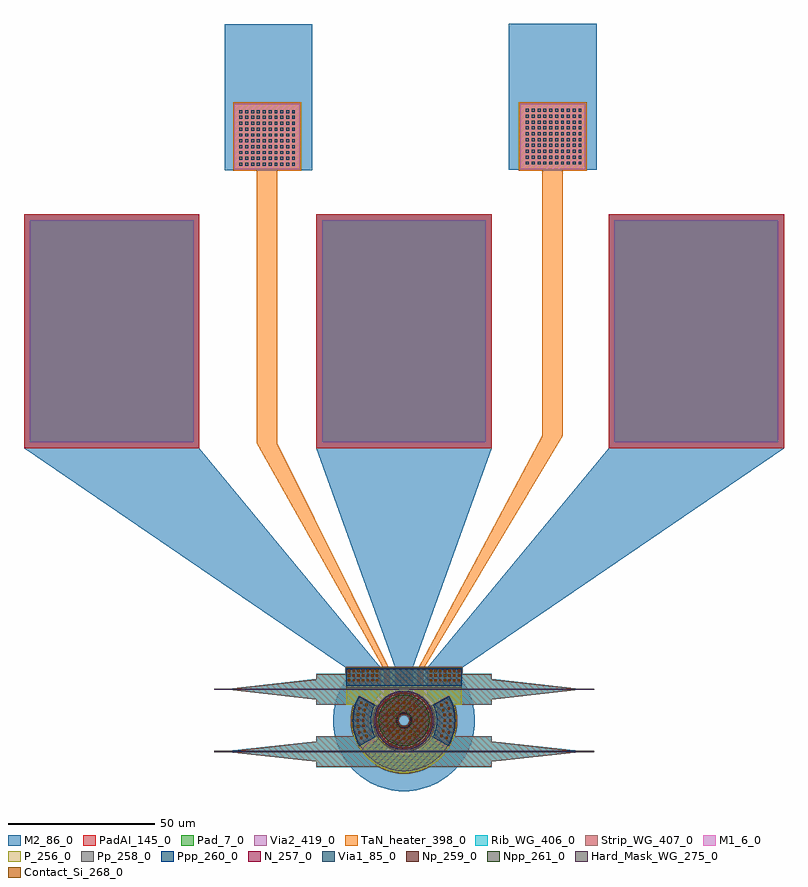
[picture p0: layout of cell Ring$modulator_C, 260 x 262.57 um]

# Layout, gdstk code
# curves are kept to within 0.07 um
import gdstk
lib = gdstk.Library(unit=1e-6, precision=1e-09)
def R(c, l, rs):  # rectangles x0, y0, x1, y1
    for r in rs: c.add(gdstk.rectangle(r[:2], r[2:], *l))
def A(c, l, x, y, w, h, nx, ny, dx, dy):  # array of equal rectangles
    R(c, l, [(x+i*dx, y+j*dy, x+i*dx+w, y+j*dy+h) for i in range(nx) for j in range(ny)])
def P(c, l, *ps):  # polygons
    for p in ps: c.add(gdstk.Polygon(p, *l))
M1_6_0 = (6, 0)
Pad_7_0 = (7, 0)
Via1_85_0 = (85, 0)
M2_86_0 = (86, 0)
PadAI_145_0 = (145, 0)
P_256_0 = (256, 0)
N_257_0 = (257, 0)
Pp_258_0 = (258, 0)
Np_259_0 = (259, 0)
Ppp_260_0 = (260, 0)
Npp_261_0 = (261, 0)
Contact_Si_268_0 = (268, 0)
Hard_Mask_WG_275_0 = (275, 0)
TaN_heater_398_0 = (398, 0)
Rib_WG_406_0 = (406, 0)
Strip_WG_407_0 = (407, 0)
Via2_419_0 = (419, 0)

ring_modulator_c = lib.new_cell('Ring$modulator_C')
R(ring_modulator_c, M1_6_0, [(110.3,43.75,121.7,48.675), (138.3,43.75,149.7,48.675), (72.005,219.511,94.321,241.826), (169.706,219.511,192.022,241.826)])
P(ring_modulator_c, M1_6_0, [(130.089,23.14),(128.353,23.316),(127.02,23.736),(125.496,24.585),(124.438,25.498),(123.562,26.586),(122.764,28.138),(122.39,29.484),(122.265,30.875),(127.285,30.875),(127.48,29.863),(127.903,29.149),(128.7,28.49),(129.481,28.209),(130.102,28.161),(130.718,28.255),(131.475,28.594),(131.956,28.99),(132.434,29.669),(132.644,30.256),(132.708,31.079),(132.59,31.691),(132.336,32.26),(131.809,32.901),(131.3,33.26),(130.519,33.541),(129.898,33.589),(129.282,33.495),(128.704,33.262),(128.194,32.904),(127.566,32.081),(127.356,31.494),(127.285,30.875),(122.265,30.875),(122.39,32.263),(122.764,33.61),(123.373,34.867),(124.436,36.25),(125.493,37.163),(127.016,38.013),(128.692,38.5),(130.085,38.611),(131.475,38.469),(132.817,38.08),(134.067,37.456),(135.438,36.377),(136.339,35.31),(137.033,34.097),(137.498,32.78),(137.734,31.052),(137.64,29.658),(137.173,27.977),(136.535,26.734),(135.684,25.627),(134.363,24.487),(133.143,23.806),(131.821,23.356)],
  [(144.748,21.298),(140.286,24.195),(141.128,25.715),(141.746,27.34),(142.055,28.608),(142.254,30.335),(142.207,32.074),(141.915,33.787),(141.383,35.443),(140.622,37.007),(145.229,39.667),(146.363,37.318),(147.011,35.332),(147.484,32.764),(147.585,30.677),(147.361,28.076),(146.756,25.536),(145.781,23.114)],
  [(115.596,20.789),(114.255,23.043),(113.266,25.472),(112.741,27.504),(112.432,30.108),(112.513,32.73),(112.983,35.309),(113.832,37.791),(114.772,39.667),(119.379,37.007),(118.618,35.444),(118.087,33.79),(117.794,32.077),(117.747,30.34),(117.946,28.613),(118.386,26.933),(119.06,25.331),(119.954,23.841)])
A(ring_modulator_c, Pad_7_0, 2, 125.975, 56, 76, 3, 1, 100, 0)
A(ring_modulator_c, Via1_85_0, 110.8, 44.225, 0.8, 0.8, 7, 3, 1.6, 1.6)
A(ring_modulator_c, Via1_85_0, 138.8, 44.225, 0.8, 0.8, 7, 3, 1.6, 1.6)
A(ring_modulator_c, Via1_85_0, 73.71, 220.658, 1, 1, 10, 10, 2, 2)
A(ring_modulator_c, Via1_85_0, 171.722, 221.089, 1, 1, 10, 10, 2, 2)
R(ring_modulator_c, Via1_85_0, [(129.6,24.3,130.4,25.1), (114.98,24.419,115.78,25.219), (144.22,24.419,145.02,25.219), (127.692,24.602,128.492,25.402), (131.508,24.602,132.308,25.402), (116.735,25.146,117.535,25.946), (142.465,25.146,143.265,25.946), (125.97,25.479,126.77,26.279), (133.23,25.479,134.03,26.279), (129.6,26.1,130.4,26.9), (114.314,26.379,115.114,27.179), (144.886,26.379,145.686,27.179), (127.412,26.686,128.212,27.486), (131.788,26.686,132.588,27.486), (124.604,26.845,125.404,27.645), (134.596,26.845,135.396,27.645), (116.149,26.871,116.949,27.671), (143.051,26.871,143.851,27.671), (125.811,28.288,126.611,29.088), (133.389,28.288,134.189,29.088), (113.91,28.409,114.71,29.209), (145.29,28.409,146.09,29.209), (123.727,28.567,124.527,29.367), (135.473,28.567,136.273,29.367), (115.794,28.657,116.594,29.457), (143.406,28.657,144.206,29.457), (113.775,30.475,114.575,31.275), (113.775,30.475,114.575,31.275), (115.675,30.475,116.475,31.275), (115.675,30.475,116.475,31.275), (123.425,30.475,124.225,31.275), (123.425,30.475,124.225,31.275), (125.225,30.475,126.025,31.275), (125.225,30.475,126.025,31.275), (133.975,30.475,134.775,31.275), (133.975,30.475,134.775,31.275), (135.775,30.475,136.575,31.275), (135.775,30.475,136.575,31.275), (143.525,30.475,144.325,31.275), (143.525,30.475,144.325,31.275), (145.425,30.475,146.225,31.275), (145.425,30.475,146.225,31.275), (115.794,32.293,116.594,33.093), (143.406,32.293,144.206,33.093), (123.727,32.383,124.527,33.183), (135.473,32.383,136.273,33.183), (113.91,32.541,114.71,33.341), (145.29,32.541,146.09,33.341), (125.811,32.662,126.611,33.462), (133.389,32.662,134.189,33.462), (116.149,34.079,116.949,34.879), (143.051,34.079,143.851,34.879), (124.604,34.105,125.404,34.905), (134.596,34.105,135.396,34.905), (127.412,34.264,128.212,35.064), (131.788,34.264,132.588,35.064), (114.314,34.571,115.114,35.371), (144.886,34.571,145.686,35.371), (129.6,34.85,130.4,35.65), (125.97,35.471,126.77,36.271), (133.23,35.471,134.03,36.271), (116.735,35.804,117.535,36.604), (142.465,35.804,143.265,36.604), (127.692,36.348,128.492,37.148), (131.508,36.348,132.308,37.148), (114.98,36.531,115.78,37.331), (144.22,36.531,145.02,37.331), (129.6,36.65,130.4,37.45)])
A(ring_modulator_c, M2_86_0, 0, 123.975, 60, 80, 3, 1, 100, 0)
R(ring_modulator_c, M2_86_0, [(127,34.15,133,48.975), (110,42.75,122,48.975), (138,42.75,150,48.975), (169.206,219.011,192.522,242.326), (68.639,219.027,98.639,269.027), (165.862,219.218,195.862,269.218)])
P(ring_modulator_c, M2_86_0, [(71.505,219.011),(71.505,242.326),(83.328,242.326),(83.328,221.409),(94.821,221.409),(94.821,219.011)],
  [(130,22.84),(128.4,23.001),(126.945,23.444),(125.526,24.201),(124.351,25.161),(123.326,26.401),(122.603,27.738),(122.126,29.275),(121.965,30.875),(122.126,32.475),(122.569,33.93),(123.326,35.349),(124.286,36.524),(125.526,37.549),(126.863,38.272),(128.4,38.749),(130,38.91),(131.6,38.749),(133.055,38.306),(134.474,37.549),(135.649,36.589),(136.674,35.349),(137.397,34.012),(137.874,32.475),(138.035,30.875),(137.874,29.275),(137.431,27.82),(136.674,26.401),(135.714,25.226),(134.474,24.201),(133.137,23.478),(131.6,23.001)],
  [(138,8.009),(138,21.979),(139.66,23.814),(140.367,24.9),(140.953,26.057),(141.641,28.104),(141.872,29.379),(141.964,30.672),(141.916,31.967),(141.728,33.25),(141.402,34.505),(140.942,35.718),(140.354,36.873),(139.644,37.958),(138,39.771),(138,43.194),(143.194,51.192),(145.685,49.339),(147.058,48.078),(148.33,46.715),(150.206,44.24),(151.174,42.647),(152.017,40.984),(153.129,38.084),(153.615,36.284),(153.961,34.452),(154.221,31.358),(154.084,28.255),(153.811,26.411),(153.398,24.594),(152.402,21.652),(151.038,18.861),(150.052,17.279),(148.947,15.777),(147.729,14.365),(146.407,13.05),(143.991,11.097),(141.346,9.47)],
  [(110,48.975),(0,123.975),(60,123.975),(122,48.975)],
  [(130,6.65),(130,18.91),(132.151,19.104),(134.231,19.682),(136.173,20.624),(138,21.979),(138,8.009),(136.145,7.441),(134.325,7.038),(131.861,6.72)],
  [(130,6.65),(127.519,6.776),(125.674,7.038),(123.854,7.442),(122,8.009),(122,21.978),(123.823,20.626),(125.766,19.683),(127.847,19.104),(130,18.91)],
  [(127,48.975),(100,123.975),(160,123.975),(133,48.975)],
  [(122,8.009),(118.653,9.471),(116.008,11.098),(113.593,13.051),(112.271,14.365),(111.054,15.777),(109.278,18.325),(108.374,19.956),(107.599,21.651),(106.956,23.401),(106.449,25.195),(105.916,28.254),(105.779,31.357),(106.039,34.451),(106.385,36.283),(106.871,38.083),(107.983,40.982),(108.825,42.645),(109.793,44.238),(111.668,46.713),(112.94,48.075),(114.313,49.337),(116.806,51.192),(122,43.194),(122,39.772),(120.356,37.959),(119.646,36.874),(119.058,35.719),(118.598,34.508),(118.272,33.254),(118.035,30.676),(118.127,29.383),(118.358,28.107),(119.045,26.059),(119.63,24.903),(120.337,23.816),(122,21.978)],
  [(138,48.975),(200,123.975),(260,123.975),(150,48.975)])
A(ring_modulator_c, PadAI_145_0, 0, 123.975, 60, 80, 3, 1, 100, 0)
R(ring_modulator_c, P_256_0, [(110.3,36.3,117.3,41.525), (142.7,36.3,149.7,41.525), (110.3,41.525,149.7,48.95)])
P(ring_modulator_c, P_256_0, [(130,12.95),(130,20.875),(131.976,21.071),(133.873,21.654),(135.618,22.601),(137.141,23.873),(138.384,25.422),(139.142,26.819),(139.763,28.705),(139.999,30.676),(139.841,32.655),(139.296,34.564),(138.384,36.328),(137.141,37.877),(135.617,39.149),(133.872,40.096),(131.975,40.679),(130,40.875),(130,48.8),(131.592,48.73),(133.692,48.417),(135.234,48.02),(136.736,47.487),(138.184,46.824),(140.013,45.744),(141.293,44.796),(142.485,43.739),(143.918,42.172),(144.866,40.892),(145.697,39.533),(146.61,37.616),(147.143,36.114),(147.541,34.572),(147.8,33),(147.926,30.88),(147.856,29.288),(147.543,27.187),(147.146,25.644),(146.407,23.652),(145.437,21.762),(144.567,20.428),(143.582,19.176),(142.49,18.016),(141.299,16.958),(139.573,15.719),(138.19,14.929),(136.742,14.265),(135.24,13.732),(133.697,13.334),(131.597,13.02)],
  [(130,12.95),(128.408,13.02),(126.308,13.333),(124.766,13.73),(123.264,14.263),(121.816,14.926),(119.987,16.006),(118.707,16.954),(117.515,18.011),(116.082,19.578),(115.134,20.858),(114.303,22.217),(113.39,24.134),(112.857,25.636),(112.459,27.178),(112.2,28.75),(112.074,30.87),(112.144,32.462),(112.457,34.563),(112.854,36.106),(113.593,38.098),(114.563,39.988),(115.433,41.322),(116.418,42.574),(117.51,43.734),(118.701,44.792),(120.427,46.031),(121.81,46.821),(123.258,47.485),(124.76,48.018),(126.303,48.416),(128.403,48.73),(130,48.8),(130,40.875),(128.024,40.679),(126.127,40.096),(124.382,39.149),(122.859,37.877),(121.616,36.328),(120.858,34.931),(120.237,33.045),(120.001,31.074),(120.159,29.095),(120.704,27.186),(121.616,25.422),(122.859,23.873),(124.383,22.601),(126.128,21.654),(128.025,21.071),(130,20.875)])
P(ring_modulator_c, N_257_0, [(130,20.875),(130,28.8),(130.707,28.923),(131.466,29.405),(131.95,30.162),(132.076,30.873),(131.882,31.751),(131.469,32.342),(130.711,32.826),(130,32.95),(130,40.875),(131.975,40.679),(133.872,40.096),(135.617,39.149),(137.141,37.877),(138.384,36.328),(139.142,34.931),(139.763,33.045),(139.999,31.074),(139.841,29.095),(139.296,27.186),(138.384,25.422),(137.141,23.873),(135.618,22.601),(133.873,21.654),(131.976,21.071)],
  [(130,20.875),(128.025,21.071),(126.128,21.654),(124.383,22.601),(122.859,23.873),(121.616,25.422),(120.858,26.819),(120.237,28.705),(120.001,30.676),(120.159,32.655),(120.704,34.564),(121.616,36.328),(122.859,37.877),(124.382,39.149),(126.127,40.096),(128.024,40.679),(130,40.875),(130,32.95),(129.293,32.827),(128.534,32.345),(128.05,31.588),(127.924,30.877),(128.118,29.999),(128.531,29.408),(129.289,28.924),(130,28.8)])
R(ring_modulator_c, Pp_258_0, [(110.3,42.05,149.7,48.15), (110.3,42.05,149.7,48.35)])
P(ring_modulator_c, Pp_258_0, [(130,13.55),(127.919,13.674),(125.868,14.049),(123.393,14.858),(121.516,15.768),(119.347,17.211),(117.783,18.589),(116.079,20.56),(114.941,22.306),(114.021,24.177),(113.197,26.65),(112.811,28.699),(112.674,30.779),(112.788,32.86),(113.28,35.418),(113.947,37.394),(114.847,39.274),(120.795,35.978),(120.267,34.883),(119.87,33.736),(119.484,31.343),(119.5,30.129),(119.656,28.926),(120.219,26.985),(120.931,25.532),(121.856,24.206),(122.975,23.037),(124.259,22.052),(125.313,21.45),(126.812,20.843),(128.387,20.473),(130,20.35)],
  [(130,13.55),(130,20.35),(131.614,20.474),(133.189,20.844),(134.688,21.451),(136.077,22.28),(137.026,23.037),(138.144,24.206),(139.07,25.533),(139.781,26.986),(140.344,28.927),(140.5,30.131),(140.515,31.345),(140.129,33.738),(139.732,34.885),(139.205,35.978),(145.153,39.274),(146.054,37.392),(146.72,35.417),(147.145,33.376),(147.326,30.778),(147.189,28.698),(146.803,26.649),(145.979,24.177),(145.059,22.306),(143.921,20.56),(142.217,18.59),(140.653,17.211),(138.935,16.031),(137.087,15.065),(134.637,14.181),(132.081,13.674)])
P(ring_modulator_c, Np_259_0, [(130,21.4),(130,28.2),(131.001,28.393),(131.856,28.947),(132.442,29.78),(132.674,30.772),(132.627,31.384),(132.442,31.97),(131.855,32.804),(131,33.357),(130,33.55),(130,40.35),(131.541,40.225),(133.404,39.719),(135.125,38.845),(136.633,37.642),(137.645,36.475),(138.621,34.81),(139.239,32.982),(139.474,31.067),(139.316,29.144),(138.773,27.292),(138.074,25.914),(136.902,24.382),(135.444,23.119),(133.759,22.177),(131.918,21.595)],
  [(130,21.4),(128.459,21.525),(126.596,22.031),(124.875,22.905),(123.367,24.108),(122.355,25.275),(121.379,26.94),(120.761,28.768),(120.526,30.683),(120.684,32.606),(121.227,34.458),(121.926,35.836),(123.098,37.368),(124.556,38.631),(126.241,39.573),(128.082,40.155),(130,40.35),(130,33.55),(128.999,33.357),(128.144,32.803),(127.558,31.97),(127.326,30.978),(127.373,30.366),(127.558,29.78),(128.145,28.946),(129,28.393),(130,28.2)])
R(ring_modulator_c, Ppp_260_0, [(110.3,42.75,149.7,48.65)])
P(ring_modulator_c, Ppp_260_0, [(114.736,22.063),(113.796,23.938),(113.087,25.912),(112.617,27.957),(112.377,30.568),(112.465,32.665),(112.802,34.736),(113.382,36.751),(114.438,39.149),(120.089,36.145),(119.559,35),(119.06,33.394),(118.807,31.731),(118.781,30.469),(118.968,28.798),(119.27,27.574),(119.709,26.39),(120.279,25.263)],
  [(145.264,22.062),(139.721,25.262),(140.291,26.388),(140.729,27.572),(141.032,28.796),(141.219,30.467),(141.194,31.729),(140.94,33.392),(140.442,34.998),(139.911,36.145),(145.562,39.149),(146.436,37.242),(147.076,35.245),(147.474,33.185),(147.624,30.567),(147.462,28.475),(147.054,26.417),(146.204,23.937)])
P(ring_modulator_c, Npp_261_0, [(130,22.1),(130,28.5),(130.931,28.689),(131.713,29.228),(132.146,29.855),(132.374,30.778),(132.222,31.717),(131.714,32.52),(130.932,33.061),(130,33.25),(130,39.65),(131.482,39.525),(133.271,39.018),(134.6,38.349),(136.072,37.212),(137.271,35.79),(137.997,34.49),(138.579,32.723),(138.776,30.875),(138.65,29.393),(138.143,27.604),(137.474,26.275),(136.337,24.803),(134.915,23.604),(133.615,22.878),(131.848,22.296)],
  [(130,22.1),(128.518,22.225),(126.729,22.732),(125.4,23.401),(123.928,24.538),(122.729,25.96),(122.003,27.26),(121.421,29.027),(121.224,30.875),(121.35,32.357),(121.857,34.146),(122.526,35.475),(123.663,36.947),(125.085,38.146),(126.385,38.872),(128.152,39.454),(130,39.65),(130,33.25),(129.069,33.061),(128.287,32.522),(127.854,31.895),(127.626,30.972),(127.778,30.033),(128.286,29.23),(129.068,28.689),(130,28.5)])
A(ring_modulator_c, Contact_Si_268_0, 110.8, 44.225, 0.8, 0.8, 7, 3, 1.6, 1.6)
A(ring_modulator_c, Contact_Si_268_0, 138.8, 44.225, 0.8, 0.8, 7, 3, 1.6, 1.6)
R(ring_modulator_c, Contact_Si_268_0, [(129.6,24.3,130.4,25.1), (114.98,24.419,115.78,25.219), (144.22,24.419,145.02,25.219), (127.692,24.602,128.492,25.402), (131.508,24.602,132.308,25.402), (116.735,25.146,117.535,25.946), (142.465,25.146,143.265,25.946), (125.97,25.479,126.77,26.279), (133.23,25.479,134.03,26.279), (129.6,26.1,130.4,26.9), (114.314,26.379,115.114,27.179), (144.886,26.379,145.686,27.179), (127.412,26.686,128.212,27.486), (131.788,26.686,132.588,27.486), (124.604,26.845,125.404,27.645), (134.596,26.845,135.396,27.645), (116.149,26.871,116.949,27.671), (143.051,26.871,143.851,27.671), (125.811,28.288,126.611,29.088), (133.389,28.288,134.189,29.088), (113.91,28.409,114.71,29.209), (145.29,28.409,146.09,29.209), (123.727,28.567,124.527,29.367), (135.473,28.567,136.273,29.367), (115.794,28.657,116.594,29.457), (143.406,28.657,144.206,29.457), (113.775,30.475,114.575,31.275), (113.775,30.475,114.575,31.275), (115.675,30.475,116.475,31.275), (115.675,30.475,116.475,31.275), (123.425,30.475,124.225,31.275), (123.425,30.475,124.225,31.275), (125.225,30.475,126.025,31.275), (125.225,30.475,126.025,31.275), (133.975,30.475,134.775,31.275), (133.975,30.475,134.775,31.275), (135.775,30.475,136.575,31.275), (135.775,30.475,136.575,31.275), (143.525,30.475,144.325,31.275), (143.525,30.475,144.325,31.275), (145.425,30.475,146.225,31.275), (145.425,30.475,146.225,31.275), (115.794,32.293,116.594,33.093), (143.406,32.293,144.206,33.093), (123.727,32.383,124.527,33.183), (135.473,32.383,136.273,33.183), (113.91,32.541,114.71,33.341), (145.29,32.541,146.09,33.341), (125.811,32.662,126.611,33.462), (133.389,32.662,134.189,33.462), (116.149,34.079,116.949,34.879), (143.051,34.079,143.851,34.879), (124.604,34.105,125.404,34.905), (134.596,34.105,135.396,34.905), (127.412,34.264,128.212,35.064), (131.788,34.264,132.588,35.064), (114.314,34.571,115.114,35.371), (144.886,34.571,145.686,35.371), (129.6,34.85,130.4,35.65), (125.97,35.471,126.77,36.271), (133.23,35.471,134.03,36.271), (116.735,35.804,117.535,36.604), (142.465,35.804,143.265,36.604), (127.692,36.348,128.492,37.148), (131.508,36.348,132.308,37.148), (114.98,36.531,115.78,37.331), (144.22,36.531,145.02,37.331), (129.6,36.65,130.4,37.45)])
R(ring_modulator_c, Hard_Mask_WG_275_0, [(65,20,70,20.45), (70,20,100,20.45), (100,20,160,20.45), (160,20,195,20.45), (65,41.3,70,41.75), (70,41.3,100,41.75), (100,41.3,160,41.75), (160,41.3,190,41.75), (190,41.3,195,41.75)])
P(ring_modulator_c, Hard_Mask_WG_275_0, [(130,20.65),(130,21.1),(131.18,21.171),(132.341,21.383),(133.468,21.735),(134.192,22.043),(135.554,22.83),(136.483,23.558),(137.051,24.104),(137.816,25.003),(138.263,25.651),(138.833,26.685),(139.141,27.409),(139.492,28.536),(139.649,29.307),(139.776,30.876),(139.649,32.445),(139.492,33.216),(139.14,34.343),(138.832,35.067),(138.262,36.101),(137.815,36.748),(137.05,37.648),(136.482,38.193),(135.553,38.921),(134.191,39.707),(133.467,40.016),(132.34,40.367),(131.179,40.58),(130,40.65),(130,41.1),(131.206,41.03),(131.999,40.904),(132.78,40.716),(133.917,40.321),(134.646,39.985),(135.684,39.376),(136.644,38.649),(137.233,38.103),(138.033,37.203),(138.505,36.553),(138.924,35.869),(139.449,34.786),(139.726,34.033),(140.03,32.869),(140.195,31.676),(140.226,30.874),(140.155,29.672),(140.029,28.879),(139.842,28.098),(139.447,26.961),(138.922,25.878),(138.502,25.194),(138.031,24.544),(137.231,23.644),(136.641,23.099),(135.681,22.372),(134.997,21.953),(133.914,21.428),(132.776,21.033),(131.995,20.846),(130.802,20.68)],
  [(130,20.65),(128.794,20.72),(128.001,20.846),(127.22,21.034),(126.083,21.429),(125.354,21.765),(124.316,22.374),(123.356,23.101),(122.767,23.647),(121.967,24.547),(121.495,25.197),(121.076,25.881),(120.551,26.964),(120.274,27.717),(119.97,28.881),(119.805,30.074),(119.774,30.876),(119.845,32.078),(119.971,32.871),(120.158,33.652),(120.553,34.789),(121.078,35.872),(121.498,36.556),(121.969,37.206),(122.769,38.106),(123.359,38.651),(124.319,39.378),(125.003,39.797),(126.086,40.322),(127.224,40.717),(128.005,40.904),(129.198,41.07),(130,41.1),(130,40.65),(128.82,40.579),(127.659,40.367),(126.532,40.015),(125.808,39.707),(124.446,38.92),(123.517,38.192),(122.949,37.646),(122.184,36.747),(121.737,36.099),(121.167,35.065),(120.859,34.341),(120.508,33.214),(120.351,32.443),(120.224,30.874),(120.351,29.305),(120.508,28.534),(120.86,27.407),(121.168,26.683),(121.738,25.649),(122.185,25.002),(122.95,24.102),(123.518,23.557),(124.447,22.829),(125.809,22.043),(126.533,21.734),(127.66,21.383),(128.821,21.17),(130,21.1)])
R(ring_modulator_c, TaN_heater_398_0, [(123.209,38.226,125.209,48.226), (134.627,38.393,136.627,48.393), (79.663,125.621,86.663,225.621), (177.364,128.298,184.364,228.298), (71.505,219.011,94.821,242.326), (71.505,219.011,94.821,242.326), (169.206,219.011,192.522,242.326), (169.206,219.011,192.522,242.326)])
P(ring_modulator_c, TaN_heater_398_0, [(123.209,48.226),(79.663,125.621),(86.663,125.621),(125.209,48.226)],
  [(130.008,20.396),(130.008,21.396),(131.553,21.521),(133.056,21.897),(134.818,22.702),(136.086,23.593),(136.932,24.39),(137.897,25.602),(138.653,26.954),(139.069,28.039),(139.413,29.55),(139.507,30.709),(139.459,31.87),(139.175,33.394),(138.647,34.851),(137.666,36.519),(136.65,37.689),(135.457,38.678),(136.031,39.497),(137.294,38.458),(138.379,37.236),(139.261,35.861),(139.919,34.366),(140.337,32.787),(140.506,31.163),(140.42,29.531),(140.083,27.934),(139.501,26.407),(138.69,24.988),(137.383,23.42),(136.134,22.367),(134.737,21.52),(133.227,20.9),(131.637,20.522)],
  [(134.627,48.393),(177.364,128.298),(184.364,128.298),(136.627,48.393)],
  [(130.008,20.396),(128.38,20.522),(126.79,20.9),(125.279,21.52),(123.882,22.367),(122.633,23.42),(121.326,24.988),(120.515,26.407),(119.933,27.934),(119.596,29.532),(119.51,31.164),(119.679,32.788),(120.097,34.368),(120.756,35.863),(121.638,37.238),(122.723,38.459),(123.985,39.497),(124.559,38.678),(123.365,37.689),(122.349,36.518),(121.537,35.199),(120.841,33.393),(120.557,31.869),(120.509,30.708),(120.603,29.549),(120.947,28.038),(121.364,26.953),(122.12,25.601),(122.825,24.677),(123.931,23.592),(125.199,22.702),(126.96,21.897),(128.463,21.521),(130.008,21.396)])
P(ring_modulator_c, Rib_WG_406_0, [(129.947,12.589),(127.847,12.716),(125.2,13.231),(123.155,13.919),(121.036,14.94),(99.94,14.94),(99.94,16.671),(69.94,19.996),(69.94,20.454),(99.94,23.779),(99.94,25.51),(112.52,25.51),(111.933,28.056),(111.715,30.742),(111.893,33.429),(112.521,36.24),(99.94,36.24),(99.94,37.971),(69.94,41.296),(69.94,41.754),(99.94,45.079),(99.94,46.81),(109.94,46.81),(109.94,49.31),(150.06,49.31),(150.06,46.81),(160.06,46.81),(160.06,45.079),(190.06,41.754),(190.06,41.296),(160.06,37.971),(160.06,36.24),(147.48,36.24),(147.925,34.49),(148.204,32.59),(129.844,32.583),(129.236,32.412),(128.73,32.03),(128.399,31.493),(128.284,30.875),(128.463,30.111),(128.845,29.605),(129.528,29.225),(130.156,29.167),(130.764,29.338),(131.269,29.719),(131.601,30.257),(131.716,30.877),(131.537,31.639),(131.156,32.144),(130.618,32.476),(130.002,32.59),(148.204,32.59),(148.285,30.74),(148.202,29.123),(147.976,27.522),(147.481,25.51),(160.06,25.51),(160.06,23.779),(190.06,20.454),(190.06,19.996),(160.06,16.671),(160.06,14.94),(138.966,14.94),(136.844,13.918),(134.799,13.23),(132.153,12.716)])
P(ring_modulator_c, Strip_WG_407_0, [(130.023,12.65),(127.369,12.84),(125.221,13.287),(123.177,13.975),(121.052,15),(100,15),(100,16.725),(70,20.05),(70,20.4),(100,23.725),(100,25.45),(112.601,25.45),(111.983,28.114),(111.775,30.743),(111.945,33.373),(112.603,36.3),(100,36.3),(100,38.025),(70,41.35),(70,41.7),(100,45.025),(100,46.75),(110,46.75),(110,49.25),(150,49.25),(150,46.75),(160,46.75),(160,45.025),(190,41.7),(190,41.35),(160,38.025),(160,36.3),(147.398,36.3),(147.867,34.474),(148.137,32.65),(129.839,32.643),(129.211,32.466),(128.685,32.069),(128.343,31.515),(128.224,30.876),(128.343,30.235),(128.806,29.56),(129.512,29.167),(130.161,29.107),(130.789,29.284),(131.315,29.681),(131.657,30.235),(131.776,30.878),(131.591,31.664),(131.194,32.19),(130.64,32.532),(130.002,32.65),(148.137,32.65),(148.225,30.741),(148.142,29.13),(147.918,27.536),(147.4,25.45),(160,25.45),(160,23.725),(190,20.4),(190,20.05),(160,16.725),(160,15),(138.95,15),(136.822,13.974),(134.778,13.286),(132.631,12.839)])
A(ring_modulator_c, Via2_419_0, 2, 125.975, 56, 76, 3, 1, 100, 0)

lib.write_gds('Ring_modulator_C.gds')
